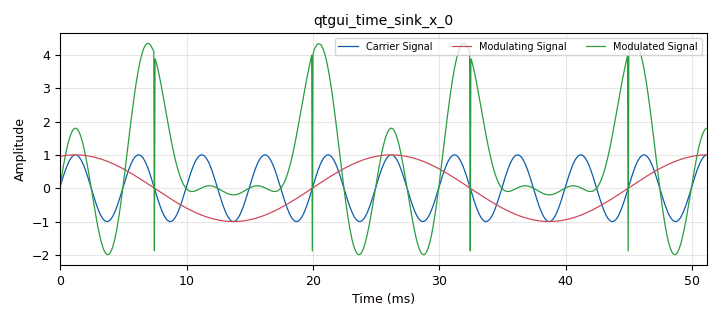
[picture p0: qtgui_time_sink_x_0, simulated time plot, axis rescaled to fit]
options:
  parameters:
    author: kvc2
    generate_options: qt_gui
    id: Diode_Demodulator
    output_language: python
    title: Not titled yet
  states: {}

blocks:
- name: F_c
  id: variable
  parameters:
    comment: carrier frequency, hertz
    value: '200'
  states: {}
- name: T
  id: variable
  parameters:
    comment: carrier period
    value: 1/F_c
  states: {}
- name: k
  id: variable
  parameters:
    comment: modulation index
    value: '.8'
  states: {}
- name: modulation_index
  id: variable_qtgui_range
  parameters:
    comment: Modulation index
    start: '0'
    step: '.01'
    stop: '1'
    value: '.8'
  states: {}
- name: omega_c
  id: variable
  parameters:
    comment: angular frequency
    value: ' 2 * 3.14159* F_c'
  states: {}
- name: samp_rate
  id: variable
  parameters:
    value: '20000'
  states: {}
- name: sample_period
  id: variable
  parameters:
    comment: sample period
    value: 1/samp_rate
  states: {}
- name: analog_const_source_x_0
  id: analog_const_source_x
  parameters:
    const: modulation_index
    type: float
  states: {}
- name: analog_const_source_x_0_0
  id: analog_const_source_x
  parameters:
    const: '1'
    type: float
  states: {}
- name: analog_sig_source_x_0
  id: analog_sig_source_x
  parameters:
    alias: Carrier
    amp: '1'
    comment: Carrier
    freq: F_c
    offset: '0'
    phase: '0'
    samp_rate: samp_rate
    type: float
    waveform: analog.GR_COS_WAVE
  states: {}
- name: analog_sig_source_x_1
  id: analog_sig_source_x
  parameters:
    amp: '1'
    comment: Modulating signal
    freq: '40'
    offset: '0'
    phase: '0'
    samp_rate: samp_rate
    type: float
    waveform: analog.GR_COS_WAVE
  states: {}
- name: audio_sink_0
  id: audio_sink
  parameters:
    samp_rate: samp_rate
  states: {state: disabled}
- name: blocks_add_xx_0
  id: blocks_add_xx
  parameters:
    type: float
  states: {}
- name: blocks_divide_xx_0
  id: blocks_divide_xx
  parameters:
    type: float
  states: {}
- name: blocks_multiply_xx_0
  id: blocks_multiply_xx
  parameters:
    type: float
  states: {}
- name: qtgui_freq_sink_x_0
  id: qtgui_freq_sink_x
  parameters:
    bw: samp_rate
    fc: '0'
    fftsize: '1024'
    type: float
  states: {state: disabled}
- name: qtgui_time_sink_x_0
  id: qtgui_time_sink_x
  parameters:
    color1: cyan
    color3: black
    label1: Carrier Signal
    label2: Modulating Signal
    label3: Modulated Signal
    nconnections: '3'
    size: '1024'
    srate: samp_rate
    style2: '3'
    type: float
    update_time: '0.1'
    width1: '5'
    width2: '5'
    width3: '10'
  states: {}

connections:
- [analog_const_source_x_0, '0', blocks_divide_xx_0, '0']
- [analog_const_source_x_0_0, '0', blocks_add_xx_0, '0']
- [analog_sig_source_x_0, '0', blocks_multiply_xx_0, '0']
- [analog_sig_source_x_0, '0', qtgui_time_sink_x_0, '0']
- [analog_sig_source_x_1, '0', blocks_divide_xx_0, '1']
- [analog_sig_source_x_1, '0', qtgui_time_sink_x_0, '1']
- [blocks_add_xx_0, '0', blocks_multiply_xx_0, '1']
- [blocks_divide_xx_0, '0', blocks_add_xx_0, '1']
- [blocks_multiply_xx_0, '0', audio_sink_0, '0']
- [blocks_multiply_xx_0, '0', qtgui_freq_sink_x_0, '0']
- [blocks_multiply_xx_0, '0', qtgui_time_sink_x_0, '2']

metadata:
  file_format: 1
  grc_version: 3.10.12.0
